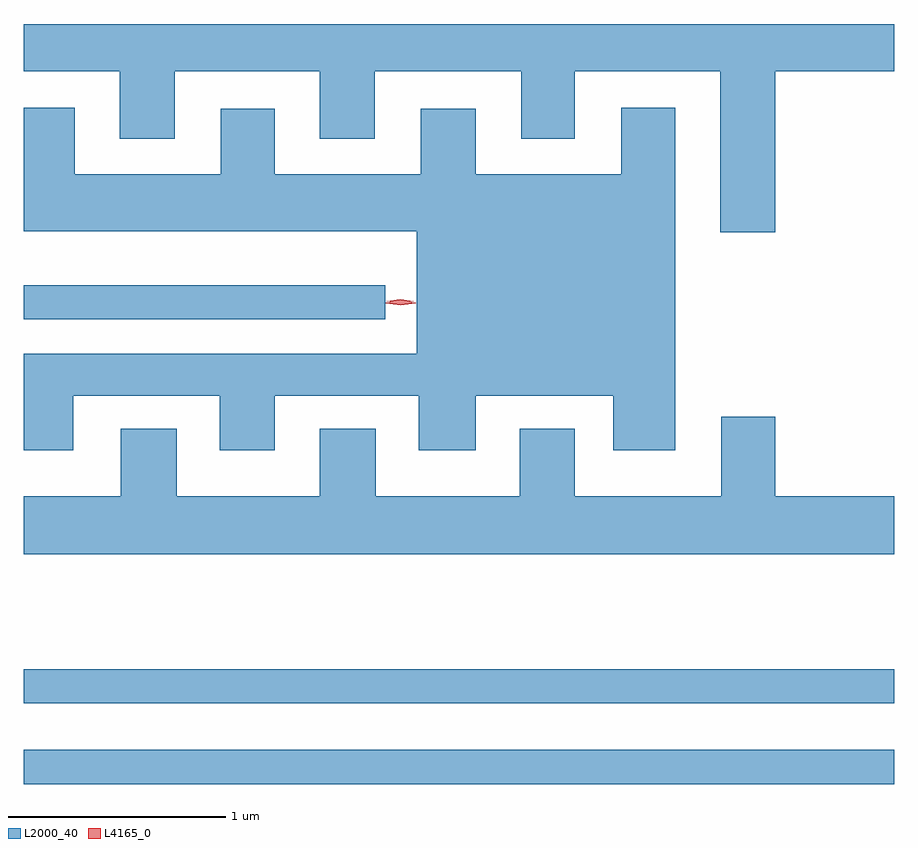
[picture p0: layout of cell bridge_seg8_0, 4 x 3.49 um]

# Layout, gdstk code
import gdstk
lib = gdstk.Library(unit=1e-6, precision=1e-09)
def R(c, l, rs):  # rectangles x0, y0, x1, y1
    for r in rs: c.add(gdstk.rectangle(r[:2], r[2:], *l))
def P(c, l, *ps):  # polygons
    for p in ps: c.add(gdstk.Polygon(p, *l))
L2000_40 = (2000, 40)
L4165_0 = (4165, 0)

bridge_seg8_0 = lib.new_cell('bridge_seg8_0')
R(bridge_seg8_0, L2000_40, [(1677.066,1933.041,1681.066,1933.199), (1677.066,1933.411,1681.066,1933.569), (1677.066,1935.176,1678.728,1935.334)])
P(bridge_seg8_0, L2000_40, [(1680.519,1936.316),(1681.066,1936.316),(1681.066,1936.534),(1677.066,1936.534),(1677.066,1936.316),(1677.506,1936.316),(1677.506,1936.006),(1677.759,1936.006),(1677.759,1936.316),(1678.426,1936.316),(1678.426,1936.006),(1678.679,1936.006),(1678.679,1936.316),(1679.351,1936.316),(1679.351,1936.006),(1679.599,1936.006),(1679.599,1936.316),(1680.266,1936.316),(1680.266,1935.576),(1680.519,1935.576)],
  [(1677.294,1934.826),(1677.966,1934.826),(1677.966,1934.576),(1678.219,1934.576),(1678.219,1934.826),(1678.881,1934.826),(1678.881,1934.576),(1679.144,1934.576),(1679.144,1934.826),(1679.776,1934.826),(1679.776,1934.576),(1680.059,1934.576),(1680.059,1936.149),(1679.811,1936.149),(1679.811,1935.844),(1679.144,1935.844),(1679.144,1936.144),(1678.891,1936.144),(1678.891,1935.844),(1678.219,1935.844),(1678.219,1936.144),(1677.971,1936.144),(1677.971,1935.844),(1677.299,1935.844),(1677.299,1936.149),(1677.066,1936.149),(1677.066,1935.581),(1678.871,1935.581),(1678.871,1935.019),(1677.066,1935.019),(1677.066,1934.576),(1677.294,1934.576)],
  [(1681.066,1934.364),(1680.519,1934.364),(1680.519,1934.729),(1680.271,1934.729),(1680.271,1934.364),(1679.599,1934.364),(1679.599,1934.674),(1679.346,1934.674),(1679.346,1934.364),(1678.684,1934.364),(1678.684,1934.674),(1678.426,1934.674),(1678.426,1934.364),(1677.769,1934.364),(1677.769,1934.674),(1677.511,1934.674),(1677.511,1934.364),(1677.066,1934.364),(1677.066,1934.096),(1681.066,1934.096)])
P(bridge_seg8_0, L4165_0, [(1678.798,1935.241),(1678.73,1935.251),(1678.73,1935.251),(1678.73,1935.252),(1678.799,1935.261),(1678.867,1935.252),(1678.868,1935.251),(1678.867,1935.251)],
  [(1678.795,1935.25),(1678.733,1935.259),(1678.733,1935.259),(1678.733,1935.26),(1678.795,1935.27),(1678.857,1935.26),(1678.858,1935.26),(1678.857,1935.259)])

lib.write_gds('bridge_seg8_0.gds')
